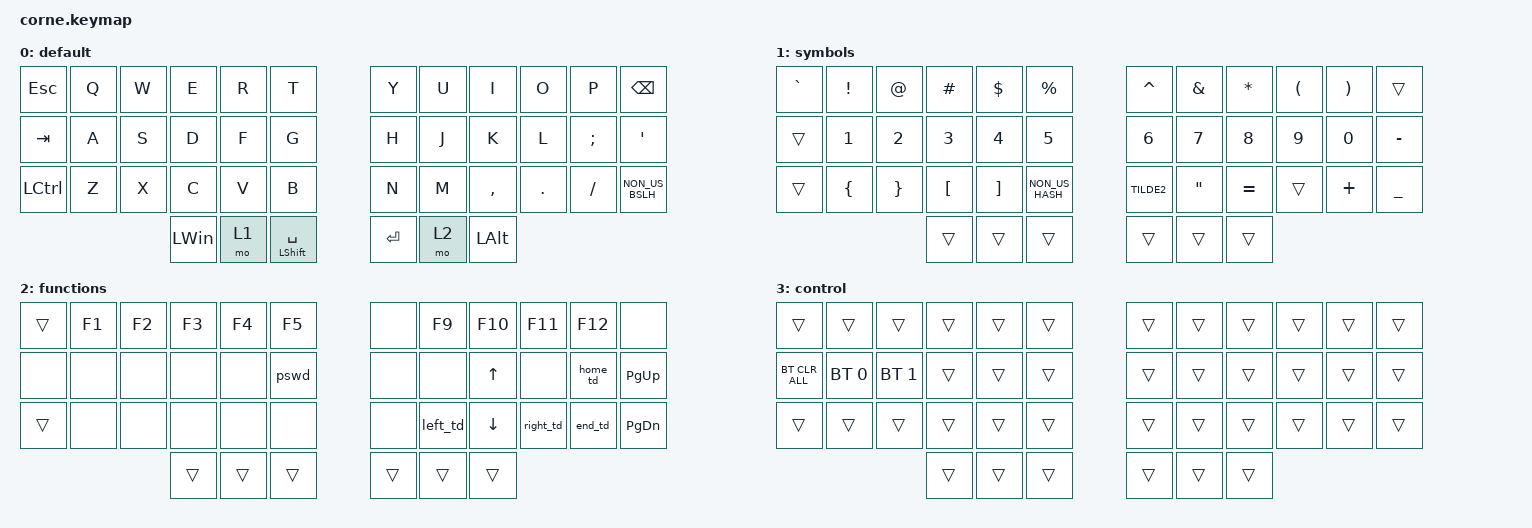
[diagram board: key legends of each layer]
#include <behaviors.dtsi>
#include <dt-bindings/zmk/bt.h>
#include <dt-bindings/zmk/keys.h>

/ {
    macros {
        pswd: pswd {
            compatible = "zmk,behavior-macro";
            #binding-cells = <0>;
            bindings = <&kp LS(T) &kp U &kp E &kp S &kp D &kp A &kp Y &kp LS(T) &kp H &kp U &kp R &kp S &kp D &kp A &kp Y &kp N1 &kp N7 &kp N0 &kp N9>;
            label = "PSWD";
        };
    };

    combos { compatible = "zmk,combos"; };

    behaviors {
        lh_mod_tap: lh_mod_tap {
            compatible = "zmk,behavior-hold-tap";
            label = "LH_MOD_TAP";
            bindings = <&kp>, <&kp>;

            #binding-cells = <2>;
            tapping-term-ms = <280>;
            quick-tap-ms = <175>;
            require-prior-idle-ms = <150>;
            flavor = "hold-preferred";
        };

        up_td: up_td {
            compatible = "zmk,behavior-tap-dance";
            label = "UP_TD";
            #binding-cells = <0>;
            bindings = <&kp UP_ARROW>, <&kp LS(UP_ARROW)>;
        };

        left_td: left_td {
            compatible = "zmk,behavior-tap-dance";
            label = "LEFT_TD";
            #binding-cells = <0>;
            bindings = <&kp LEFT_ARROW>, <&kp LC(LEFT_ARROW)>;
        };

        right_td: right_td {
            compatible = "zmk,behavior-tap-dance";
            label = "RIGHT_TD";
            #binding-cells = <0>;
            bindings = <&kp RIGHT_ARROW>, <&kp LC(RIGHT_ARROW)>;
        };

        down_td: down_td {
            compatible = "zmk,behavior-tap-dance";
            label = "DOWN_TD";
            #binding-cells = <0>;
            bindings = <&kp DOWN_ARROW>, <&kp LS(DOWN_ARROW)>;
        };

        home_td: home_td {
            compatible = "zmk,behavior-tap-dance";
            label = "HOME_TD";
            #binding-cells = <0>;
            bindings = <&kp HOME>, <&kp LS(HOME)>;
        };

        end_td: end_td {
            compatible = "zmk,behavior-tap-dance";
            label = "END_TD";
            #binding-cells = <0>;
            bindings = <&kp END>, <&kp LS(END)>;
        };
    };

    keymap {
        compatible = "zmk,keymap";

        default {
            bindings = <
&kp ESCAPE  &kp Q  &kp W  &kp E         &kp R  &kp T                           &kp Y      &kp U  &kp I      &kp O    &kp P      &kp BACKSPACE
&kp TAB     &kp A  &kp S  &kp D         &kp F  &kp G                           &kp H      &kp J  &kp K      &kp L    &kp SEMI   &kp SINGLE_QUOTE
&kp LCTRL   &kp Z  &kp X  &kp C         &kp V  &kp B                           &kp N      &kp M  &kp COMMA  &kp DOT  &kp SLASH  &kp NON_US_BSLH
                          &kp LEFT_WIN  &mo 1  &lh_mod_tap LEFT_SHIFT SPACE    &kp ENTER  &mo 2  &kp LALT
            >;
        };

        symbols {
            bindings = <
&kp GRAVE  &kp EXCLAMATION  &kp AT           &kp POUND         &kp DOLLAR         &kp PERCENT        &kp CARET     &kp AMPERSAND      &kp ASTERISK  &kp LEFT_PARENTHESIS  &kp RIGHT_PARENTHESIS  &trans
&trans     &kp NUMBER_1     &kp NUMBER_2     &kp NUMBER_3      &kp NUMBER_4       &kp NUMBER_5       &kp NUMBER_6  &kp NUMBER_7       &kp NUMBER_8  &kp NUMBER_9          &kp NUMBER_0           &kp MINUS
&trans     &kp LEFT_BRACE   &kp RIGHT_BRACE  &kp LEFT_BRACKET  &kp RIGHT_BRACKET  &kp NON_US_HASH    &kp TILDE2    &kp DOUBLE_QUOTES  &kp EQUAL     &trans                &kp PLUS               &kp UNDER
                                             &trans            &trans             &trans             &trans        &trans             &trans
            >;
        };

        functions {
            bindings = <
&trans  &kp F1  &kp F2  &kp F3  &kp F4  &kp F5    &none   &kp F9    &kp F10         &kp F11    &kp F12   &none
&none   &none   &none   &none   &none   &pswd     &none   &none     &kp UP_ARROW    &none      &home_td  &kp PAGE_UP
&trans  &none   &none   &none   &none   &none     &none   &left_td  &kp DOWN_ARROW  &right_td  &end_td   &kp PAGE_DOWN
                        &trans  &trans  &trans    &trans  &trans    &trans
            >;
        };

        control {
            bindings = <
&trans          &trans        &trans        &trans  &trans  &trans    &trans  &trans  &trans  &trans  &trans  &trans
&bt BT_CLR_ALL  &bt BT_SEL 0  &bt BT_SEL 1  &trans  &trans  &trans    &trans  &trans  &trans  &trans  &trans  &trans
&trans          &trans        &trans        &trans  &trans  &trans    &trans  &trans  &trans  &trans  &trans  &trans
                                            &trans  &trans  &trans    &trans  &trans  &trans
            >;
        };
    };

    conditional_layers {
        compatible = "zmk,conditional-layers";

        activate-control-layer {
            if-layers = <1 2>;
            then-layer = <3>;
        };
    };
};
